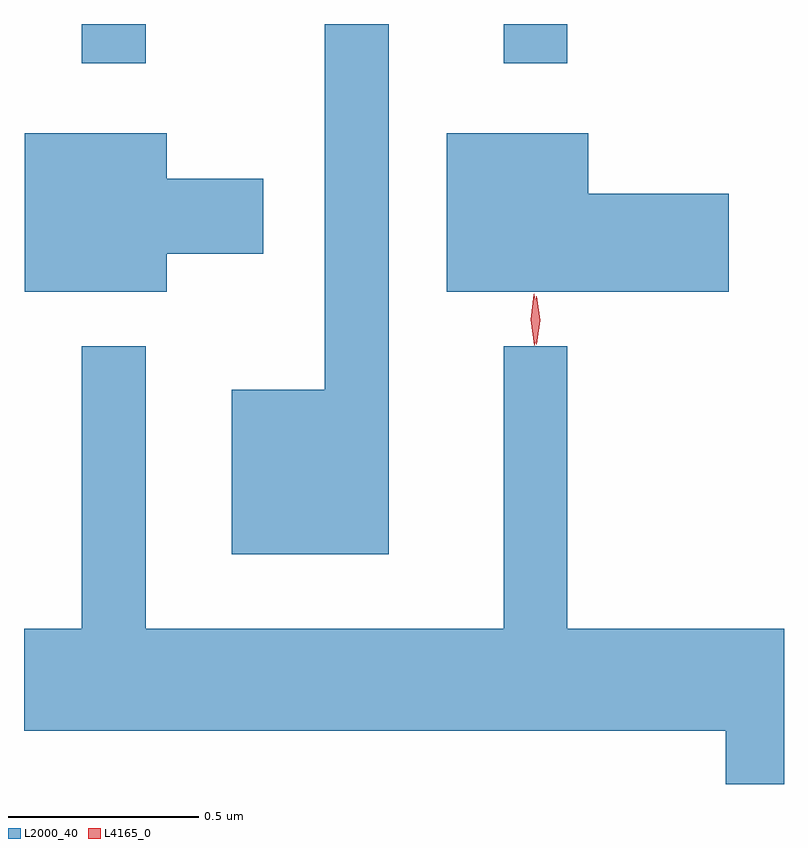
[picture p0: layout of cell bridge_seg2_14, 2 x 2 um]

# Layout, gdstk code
import gdstk
lib = gdstk.Library(unit=1e-6, precision=1e-09)
def R(c, l, rs):  # rectangles x0, y0, x1, y1
    for r in rs: c.add(gdstk.rectangle(r[:2], r[2:], *l))
def P(c, l, *ps):  # polygons
    for p in ps: c.add(gdstk.Polygon(p, *l))
L2000_40 = (2000, 40)
L4165_0 = (4165, 0)

bridge_seg2_14 = lib.new_cell('bridge_seg2_14')
R(bridge_seg2_14, L2000_40, [(1905.061,1018.993,1905.229,1019.096), (1906.171,1018.993,1906.339,1019.096)])
P(bridge_seg2_14, L2000_40, [(1905.869,1019.096),(1905.701,1019.096),(1905.701,1018.134),(1905.456,1018.134),(1905.456,1017.701),(1905.869,1017.701)],
  [(1906.764,1018.649),(1906.394,1018.649),(1906.394,1018.809),(1906.021,1018.809),(1906.021,1018.391),(1906.764,1018.391)],
  [(1905.284,1018.491),(1905.539,1018.491),(1905.539,1018.689),(1905.284,1018.689),(1905.284,1018.809),(1904.911,1018.809),(1904.911,1018.391),(1905.284,1018.391)],
  [(1906.909,1017.504),(1906.339,1017.504),(1906.339,1018.248),(1906.171,1018.248),(1906.171,1017.504),(1905.229,1017.504),(1905.229,1018.248),(1905.061,1018.248),(1905.061,1017.504),(1904.909,1017.504),(1904.909,1017.236),(1906.756,1017.236),(1906.756,1017.096),(1906.909,1017.096)])
P(bridge_seg2_14, L4165_0, [(1906.252,1018.25),(1906.242,1018.318),(1906.251,1018.385),(1906.252,1018.386),(1906.252,1018.385),(1906.262,1018.318),(1906.253,1018.25),(1906.253,1018.25)],
  [(1906.257,1018.253),(1906.248,1018.316),(1906.257,1018.38),(1906.258,1018.38),(1906.258,1018.38),(1906.268,1018.316),(1906.258,1018.253),(1906.258,1018.253)])

lib.write_gds('bridge_seg2_14.gds')
